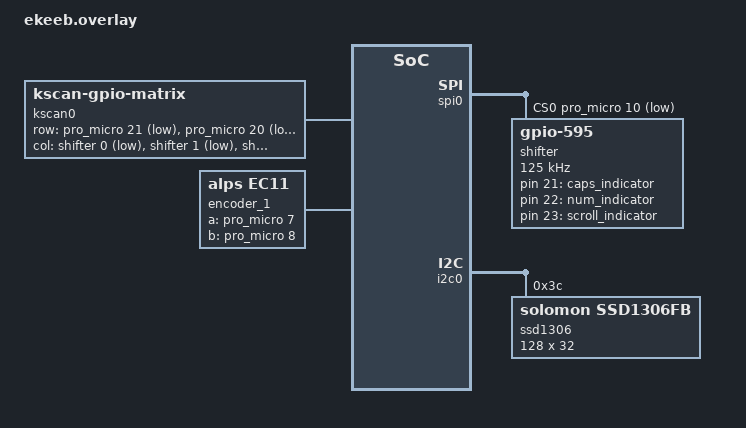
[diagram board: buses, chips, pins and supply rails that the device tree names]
/*
 * Copyright (c) 2021 The ZMK Contributors
 *
 * SPDX-License-Identifier: MIT
 */

&spi0 {
    status = "okay";
    cs-gpios = <&pro_micro 10 GPIO_ACTIVE_LOW>;
    shifter: 595@0 {
        compatible = "zmk,gpio-595";
        status = "okay";
        gpio-controller;
        spi-max-frequency = <125000>;
        reg = <0>;
        #gpio-cells = <2>;
        ngpios = <24>;
    };
};

/ {
    chosen {
        zmk,kscan = &kscan0;
        zephyr,display = &oled;
    };

    indicators {
        compatible = "gpio-leds";
        caps_indicator: caps_indicator {
            gpios = <&shifter 21 GPIO_ACTIVE_HIGH>;
        };
        num_indicator: num_indicator {
            gpios = <&shifter 22 GPIO_ACTIVE_HIGH>;
        };
        scroll_indicator: scroll_indicator {
            gpios = <&shifter 23 GPIO_ACTIVE_HIGH>;
        };
    };

    kscan0: kscan_0 {
        compatible = "zmk,kscan-gpio-matrix";
        diode-direction = "col2row";
        row-gpios
            = <&pro_micro 21  (GPIO_ACTIVE_LOW)>
            , <&pro_micro 20  (GPIO_ACTIVE_LOW)>
            , <&pro_micro 19  (GPIO_ACTIVE_LOW)>
            , <&pro_micro 15  (GPIO_ACTIVE_LOW)>
            , <&pro_micro 5   (GPIO_ACTIVE_LOW)>
            , <&pro_micro 6   (GPIO_ACTIVE_LOW)>
            ;
        col-gpios
            = <&shifter 0  GPIO_ACTIVE_LOW>
            , <&shifter 1  GPIO_ACTIVE_LOW>
            , <&shifter 2  GPIO_ACTIVE_LOW>
            , <&shifter 3  GPIO_ACTIVE_LOW>
            , <&shifter 4  GPIO_ACTIVE_LOW>
            , <&shifter 5  GPIO_ACTIVE_LOW>
            , <&shifter 6  GPIO_ACTIVE_LOW>
            , <&shifter 7  GPIO_ACTIVE_LOW>
            , <&shifter 8  GPIO_ACTIVE_LOW>
            , <&shifter 9  GPIO_ACTIVE_LOW>
            , <&shifter 10 GPIO_ACTIVE_LOW>
            , <&shifter 11 GPIO_ACTIVE_LOW>
            , <&shifter 12 GPIO_ACTIVE_LOW>
            , <&shifter 13 GPIO_ACTIVE_LOW>
            , <&shifter 14 GPIO_ACTIVE_LOW>
            , <&shifter 15 GPIO_ACTIVE_LOW>
            , <&shifter 16 GPIO_ACTIVE_LOW>
            , <&shifter 17 GPIO_ACTIVE_LOW>
            , <&shifter 18 GPIO_ACTIVE_LOW>
            , <&shifter 19 GPIO_ACTIVE_LOW>
            , <&shifter 20 GPIO_ACTIVE_LOW>
            ;
    };

    encoder_1: encoder_1 {
        compatible = "alps,ec11";
        a-gpios = <&pro_micro 7 (GPIO_ACTIVE_HIGH | GPIO_PULL_UP)>;
        b-gpios = <&pro_micro 8 (GPIO_ACTIVE_HIGH | GPIO_PULL_UP)>;
        steps = <20>;
        status = "okay";
    };
};

&i2c0 {
    status = "okay";

    oled: ssd1306@3c {
        compatible = "solomon,ssd1306";
        label = "ssd1306";
        compatible = "solomon,ssd1306fb";
        status = "okay";
        reg = <0x3c>;
        width = <128>;
        height = <32>;
        segment-offset = <0>;
        page-offset = <0>;
        display-offset = <0>;
        multiplex-ratio = <31>;
        prechargep = <0x22>;
        segment-remap;
        com-invdir;
        com-sequential;
    };
};
